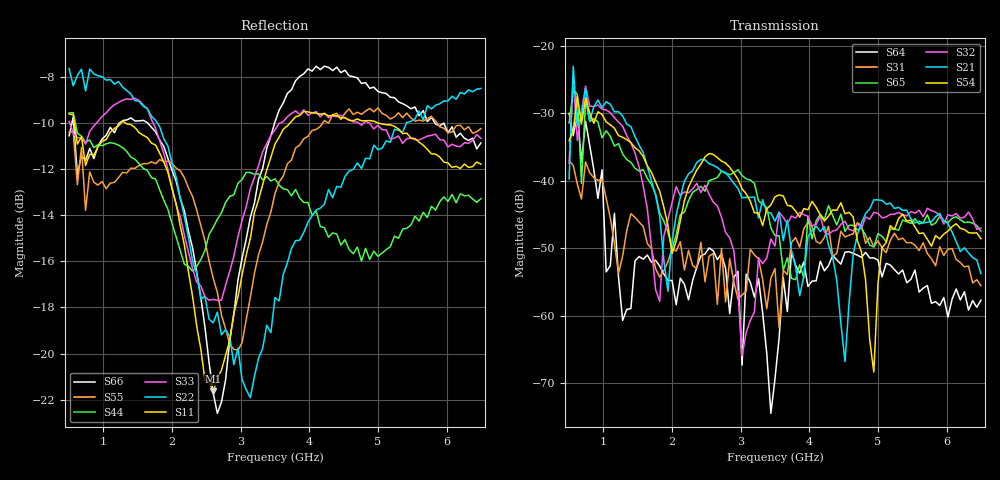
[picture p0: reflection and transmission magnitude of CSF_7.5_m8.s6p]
!Keysight Technologies,M9804A,MY58100912,A.14.10.03
!Date: Thursday, April 27, 2023 10:28:33
!Correction: S11(C  6-Port  )
!S12(C  6-Port  )
!S13(C  6-Port  )
!S14(C  6-Port  )
!S15(C  6-Port  )
!S16(C  6-Port  )
!S21(C  6-Port  )
!S22(C  6-Port  )
!S23(C  6-Port  )
!S24(C  6-Port  )
!S25(C  6-Port  )
!S26(C  6-Port  )
!S31(C  6-Port  )
!S32(C  6-Port  )
!S33(C  6-Port  )
!S34(C  6-Port  )
!S35(C  6-Port  )
!S36(C  6-Port  )
!S41(C  6-Port  )
!S42(C  6-Port  )
!S43(C  6-Port  )
!S44(C  6-Port  )
!S45(C  6-Port  )
!S46(C  6-Port  )
!S51(C  6-Port  )
!S52(C  6-Port  )
!S53(C  6-Port  )
!S54(C  6-Port  )
!S55(C  6-Port  )
!S56(C  6-Port  )
!S61(C  6-Port  )
!S62(C  6-Port  )
!S63(C  6-Port  )
!S64(C  6-Port  )
!S65(C  6-Port  )
!S66(C  6-Port  )
!S6P File: Measurement: :
# Hz S  RI  R 50
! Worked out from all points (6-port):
!   101 points, 500 MHz to 6.5 GHz, reference 50 ohm
!   strongest paths, dB at 500 MHz, 2 GHz, 3.5 GHz, 5 GHz, 6.5 GHz:
!     S54: -34.1, -50.8, -42.4, -55.3, -48.6
!     S21: -39.7, -48.9, -46.0, -42.8, -53.7
!     S32: -37.4, -43.2, -49.7, -44.8, -47.0
!     S65: -31.4, -50.0, -48.1, -47.8, -47.5
!     S31: -36.9, -50.1, -53.0, -48.9, -55.5
!     S64: -30.0, -54.8, -69.3, -51.8, -57.7
!   lowest |S11| = -21.6 dB at 2.6 GHz (marker M1), VSWR 1.18, Z = 42.6 + j2.1 ohm
!   |S11| at or under -10 dB: 577.2 MHz to 1.254 GHz (676.8 MHz wide, 73.9 % of centre); 1.326 GHz to 3.716 GHz (2.391 GHz wide, 94.8 % of centre); 5.011 GHz to end of sweep
